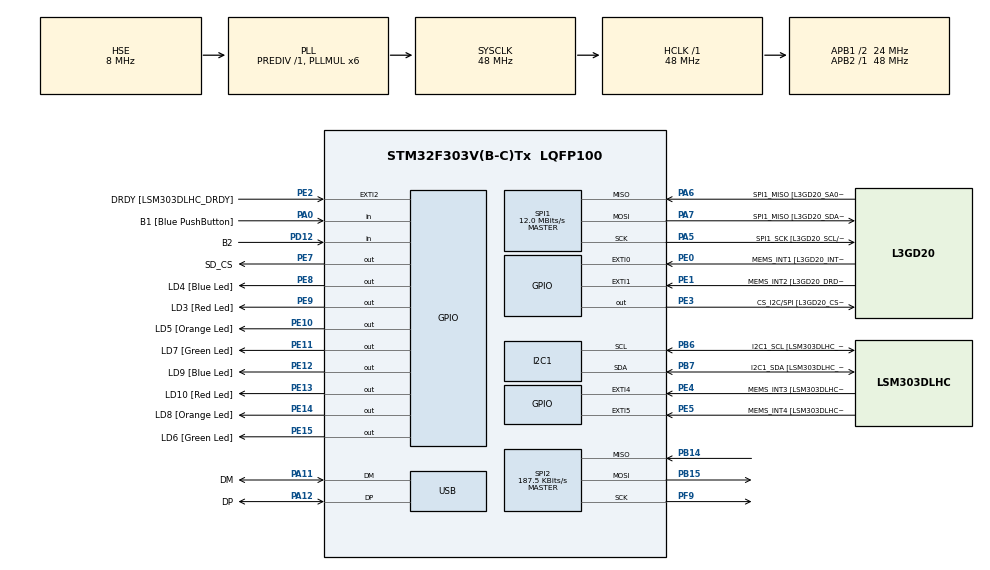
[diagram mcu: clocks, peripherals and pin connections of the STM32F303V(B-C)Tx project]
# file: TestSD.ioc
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FATFS._CODE_PAGE=1251
FATFS._FS_LOCK=1
FATFS._FS_NORTC=1
FATFS._NORTC_MDAY=1
FATFS._NORTC_MON=1
FATFS._NORTC_YEAR=2020
FATFS._USE_FASTSEEK=0
FATFS._USE_MKFS=0
FREERTOS.CountingSemaphores01=syscallCountingSem,1,Dynamic,NULL
FREERTOS.Tasks01=defaultTask,24,128,StartDefaultTask,Default,NULL,Dynamic,NULL,NULL;spiTask,8,450,SpiTask,Default,NULL,Dynamic,NULL,NULL;buttonTask,8,180,ButtonTask,Default,NULL,Dynamic,NULL,NULL;sdFatfsTask,8,420,SdFatfsTask,Default,NULL,Dynamic,NULL,NULL;logTask,24,1000,LogTask,Default,NULL,Dynamic,NULL,NULL
FREERTOS.configTOTAL_HEAP_SIZE=9600
I2C1.Timing=0x2000090E
I2C1.Timing-I2C=0x2000090E
Mcu.Family=STM32F3
Mcu.Name=STM32F303V(B-C)Tx
Mcu.Package=LQFP100
NVIC.PriorityGroup=NVIC_PRIORITYGROUP_4
NVIC.TIM1_UP_TIM16_IRQn=true\:0\:0\:false\:false\:true\:false\:false\:true
NVIC.TimeBase=TIM1_UP_TIM16_IRQn
NVIC.TimeBaseIP=TIM1
PA0.GPIO_Label=B1 [Blue PushButton]
PA0.Signal=GPIO_Input
PA11.GPIO_Label=DM
PA11.Mode=Device
PA11.Signal=USB_DM
PA12.GPIO_Label=DP
PA12.Mode=Device
PA12.Signal=USB_DP
PA13.GPIO_Label=SWDIO
PA13.Mode=Serial_Wire
PA13.Signal=SYS_JTMS-SWDIO
PA14.GPIO_Label=SWCLK
PA14.Mode=Serial_Wire
PA14.Signal=SYS_JTCK-SWCLK
PA5.GPIO_Label=SPI1_SCK [L3GD20_SCL/SPC]
PA5.Mode=Full_Duplex_Master
PA5.Signal=SPI1_SCK
PA6.GPIO_Label=SPI1_MISO [L3GD20_SA0/SDO]
PA6.Mode=Full_Duplex_Master
PA6.Signal=SPI1_MISO
PA7.GPIO_Label=SPI1_MISO [L3GD20_SDA/SDI/SDO]
PA7.Mode=Full_Duplex_Master
PA7.Signal=SPI1_MOSI
PB14.Mode=Full_Duplex_Master
PB14.Signal=SPI2_MISO
PB15.Mode=Full_Duplex_Master
PB15.Signal=SPI2_MOSI
PB3.GPIO_Label=SWO
PB3.Signal=SYS_JTDO-TRACESWO
PB6.GPIO_Label=I2C1_SCL [LSM303DLHC_SCL]
PB6.Mode=I2C
PB6.Signal=I2C1_SCL
PB7.GPIO_Label=I2C1_SDA [LSM303DLHC_SDA]
PB7.Mode=I2C
PB7.Signal=I2C1_SDA
PC14-OSC32_IN.GPIO_Label=OSC32_IN
PC14-OSC32_IN.Signal=RCC_OSC32_IN
PC15-OSC32_OUT.GPIO_Label=OSC32_OUT
PC15-OSC32_OUT.Signal=RCC_OSC32_OUT
PD12.GPIO_Label=B2
PD12.GPIO_PuPd=GPIO_PULLDOWN
PD12.Signal=GPIO_Input
PE0.GPIO_Label=MEMS_INT1 [L3GD20_INT1]
PE0.GPIO_ModeDefaultEXTI=GPIO_MODE_EVT_RISING
PE0.Signal=GPXTI0
PE1.GPIO_Label=MEMS_INT2 [L3GD20_DRDY/INT2]
PE1.GPIO_ModeDefaultEXTI=GPIO_MODE_EVT_RISING
PE1.Signal=GPXTI1
PE10.GPIO_Label=LD5 [Orange Led]
PE10.Signal=GPIO_Output
PE11.GPIO_Label=LD7 [Green Led]
PE11.Signal=GPIO_Output
PE12.GPIO_Label=LD9 [Blue Led]
PE12.Signal=GPIO_Output
PE13.GPIO_Label=LD10 [Red Led]
PE13.Signal=GPIO_Output
PE14.GPIO_Label=LD8 [Orange Led]
PE14.Signal=GPIO_Output
PE15.GPIO_Label=LD6 [Green Led]
PE15.Signal=GPIO_Output
PE2.GPIO_Label=DRDY [LSM303DLHC_DRDY]
PE2.GPIO_ModeDefaultEXTI=GPIO_MODE_EVT_RISING
PE2.Signal=GPXTI2
PE3.GPIO_Label=CS_I2C/SPI [L3GD20_CS_I2C/SPI]
PE3.Signal=GPIO_Output
PE4.GPIO_Label=MEMS_INT3 [LSM303DLHC_INT1]
PE4.GPIO_ModeDefaultEXTI=GPIO_MODE_EVT_RISING
PE4.Signal=GPXTI4
PE5.GPIO_Label=MEMS_INT4 [LSM303DLHC_INT2]
PE5.GPIO_ModeDefaultEXTI=GPIO_MODE_EVT_RISING
PE5.Signal=GPXTI5
PE7.GPIO_Label=SD_CS
PE7.GPIO_ModeDefaultOutputPP=GPIO_MODE_OUTPUT_PP
PE7.PinState=GPIO_PIN_SET
PE7.Signal=GPIO_Output
PE8.GPIO_Label=LD4 [Blue Led]
PE8.Signal=GPIO_Output
PE9.GPIO_Label=LD3 [Red Led]
PE9.Signal=GPIO_Output
PF0-OSC_IN.GPIO_Label=OSC_IN
PF0-OSC_IN.Mode=HSE-External-Clock-Source
PF0-OSC_IN.Signal=RCC_OSC_IN
PF1-OSC_OUT.GPIO_Label=OSC_OUT
PF1-OSC_OUT.Signal=RCC_OSC_OUT
PF9.Mode=Full_Duplex_Master
PF9.Signal=SPI2_SCK
ProjectManager.HeapSize=0x0
ProjectManager.StackSize=0x400
ProjectManager.TargetToolchain=STM32CubeIDE
RCC.AHBFreq_Value=48000000
RCC.APB1CLKDivider=RCC_HCLK_DIV2
RCC.APB1Freq_Value=24000000
RCC.APB1TimFreq_Value=48000000
RCC.APB2Freq_Value=48000000
RCC.APB2TimFreq_Value=48000000
RCC.CortexFreq_Value=48000000
RCC.HCLKFreq_Value=48000000
RCC.HSE_VALUE=8000000
RCC.HSI_VALUE=8000000
RCC.LSE_VALUE=32768
RCC.PLLMUL=RCC_PLL_MUL6
RCC.SYSCLKFreq_VALUE=48000000
RCC.SYSCLKSourceVirtual=RCC_SYSCLKSOURCE_PLLCLK
RCC.USBFreq_Value=48000000
SPI1.BaudRatePrescaler=SPI_BAUDRATEPRESCALER_4
SPI1.BaudRatePrescaler-Full_Duplex_Master=SPI_BAUDRATEPRESCALER_2
SPI1.CalculateBaudRate=12.0 MBits/s
SPI1.CalculateBaudRate-Full_Duplex_Master=24.0 MBits/s
SPI1.Direction=SPI_DIRECTION_2LINES
SPI1.Mode=SPI_MODE_MASTER
SPI1.Mode-Full_Duplex_Master=SPI_MODE_MASTER
SPI1.VirtualType=VM_MASTER
SPI2.BaudRatePrescaler=SPI_BAUDRATEPRESCALER_128
SPI2.CalculateBaudRate=187.5 KBits/s
SPI2.DataSize=SPI_DATASIZE_8BIT
SPI2.Direction=SPI_DIRECTION_2LINES
SPI2.Mode=SPI_MODE_MASTER
SPI2.VirtualType=VM_MASTER
VP_FATFS_VS_Generic.Mode=User_defined
VP_FREERTOS_VS_CMSIS_V2.Mode=CMSIS_V2
VP_SYS_VS_tim1.Mode=TIM1
board=STM32F3DISCOVERY

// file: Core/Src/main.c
/* USER CODE BEGIN Header */
/**
  ******************************************************************************
  * @file           : main.c
  * @brief          : Main program body
  ******************************************************************************
  * @attention
  *
  * <h2><center>&copy; Copyright (c) 2020 STMicroelectronics.
  * All rights reserved.</center></h2>
  *
  * This software component is licensed by ST under BSD 3-Clause license,
  * the "License"; You may not use this file except in compliance with the
  * License. You may obtain a copy of the License at:
  *                        opensource.org/licenses/BSD-3-Clause
  *
  ******************************************************************************
  */
#define I_AM_IN_MAIN_C

/* USER CODE END Header */

#include "main.h"
#include "cmsis_os.h"
#include "fatfs.h"

/* USER CODE BEGIN Includes */
#include <stdlib.h>
#include <string.h>
#include <errno.h>

#include "SdCardJobs.h"
#include "MainEventFlags.h"
#include "log_tasked.h"

/* USER CODE END Includes */

/* USER CODE BEGIN PD */
#define BUTTON_AMOUNT 2
/* event flags for spi_event_flags */
//#define EF_SPI_SEND_TEST_CMD 0x1 /* SPI: send test command */

/* USER CODE END PD */

I2C_HandleTypeDef hi2c1;

SPI_HandleTypeDef hspi1;
SPI_HandleTypeDef hspi2;

PCD_HandleTypeDef hpcd_USB_FS;

/* Definitions for defaultTask */
osThreadId_t defaultTaskHandle;
const osThreadAttr_t defaultTask_attributes = {
  .name = "defaultTask",
  .priority = (osPriority_t) osPriorityNormal,
  .stack_size = 128 * 4
};
/* Definitions for spiTask */
osThreadId_t spiTaskHandle;
const osThreadAttr_t spiTask_attributes = {
  .name = "spiTask",
  .priority = (osPriority_t) osPriorityLow,
  .stack_size = 450 * 4
};
/* Definitions for buttonTask */
osThreadId_t buttonTaskHandle;
const osThreadAttr_t buttonTask_attributes = {
  .name = "buttonTask",
  .priority = (osPriority_t) osPriorityLow,
  .stack_size = 180 * 4
};
/* Definitions for sdFatfsTask */
osThreadId_t sdFatfsTaskHandle;
const osThreadAttr_t sdFatfsTask_attributes = {
  .name = "sdFatfsTask",
  .priority = (osPriority_t) osPriorityLow,
  .stack_size = 420 * 4
};
/* Definitions for logTask */
osThreadId_t logTaskHandle;
const osThreadAttr_t logTask_attributes = {
  .name = "logTask",
  .priority = (osPriority_t) osPriorityNormal,
  .stack_size = 1000 * 4
};
/* Definitions for syscallCountingSem */
osSemaphoreId_t syscallCountingSemHandle;
const osSemaphoreAttr_t syscallCountingSem_attributes = {
  .name = "syscallCountingSem"
};
/* USER CODE BEGIN PV */

//osEventFlagsId_t spi_event_flags = NULL;
static BOOL sd_card_init_needed = TRUE;

/* USER CODE END PV */

void SystemClock_Config(void);
static void MX_GPIO_Init(void);
static void MX_I2C1_Init(void);
static void MX_SPI1_Init(void);
static void MX_SPI2_Init(void);
static void MX_USB_PCD_Init(void);
void StartDefaultTask(void *argument);
void SpiTask(void *argument);
void ButtonTask(void *argument);
void SdFatfsTask(void *argument);
void LogTask(void *argument);

/* USER CODE BEGIN PFP */
BOOL MakeSdCardJob(void);

void Button1_Pressed(void);
void Button2_Pressed(void);

/* USER CODE END PFP */

/* USER CODE BEGIN 0 */

/*
 * защита от применения где-то malloc & free
 */
extern void nonexistentfunction( void );

void *malloc( size_t size )
{
    ( void ) size;
    nonexistentfunction();
    return NULL;
}

void free( void *pvMemory )
{
    ( void ) pvMemory;
    nonexistentfunction();
}

/*
 * additional 64bit tick counter function
 *
 * https://www.keil.com/pack/doc/cmsis/RTOS2/html/group__CMSIS__RTOS__KernelCtrl.html#ga84bcdbf2fb76b10c8df4e439f0c7e11b
 *
 * Due to the limited value range u
 * sed for the tick count it may overflow during runtime,
 * i.e. after 232 ticks which are roughly 49days @ 1ms.
 * Typically one has not to take special care of this
 * unless a monotonic counter is needed. For such a case
 * an additional 64bit tick counter can be implemented as follows.
 * The given example needs GetTick() called
 * at least twice per tick overflow to work properly.
 */
uint64_t GetTick(void)
{
  static uint32_t tick_h = 0U;
  static uint32_t tick_l = 0U;
         uint32_t tick;
  tick = osKernelGetTickCount();
  if (tick < tick_l) {
    tick_h++;
  }
  tick_l = tick;
  return (((uint64_t)tick_h << 32) | tick_l);
}

BOOL MakeSdCardJob(void)
{
	return SdFat_okMount();
}

void Button1_Pressed(void)
{
	static Log_TMessage mes;

	mes.id = osKernelGetTickCount();
	strncpy(mes.mes,"qwerty",sizeof(mes.mes));
	if(Log_okPut(&mes))
		HAL_GPIO_WritePin(LD5_GPIO_Port,LD5_Pin,GPIO_PIN_SET);
	else
		HAL_GPIO_WritePin(LD6_GPIO_Port,LD6_Pin,GPIO_PIN_SET);
//				ev_flag_set_ret_value=
//				osEventFlagsSet(jobs_event_flags,JF_WRITE_LOG);
}
void Button2_Pressed(void)
{

}

//{
//	DSTATUS dstat = RES_OK;
//
////    FATFS *fs;     /* Pointer to the filesystem object */
//	FATFS ofs;
//    FRESULT fres;
//
//    FIL fil;        /* File object */
//    char line[20]; /* Line buffer */
//    FRESULT fr;     /* FatFs return code */
//
//	dstat = disk_initialize(0);
//	if(dstat != RES_OK)
//		return FALSE;
//
////    fs = malloc(sizeof (FATFS));/* Get work area for the volume */
////    if(fs==NULL)
////    {
////    	int e = errno;
////    	return FALSE;
////    }
//
//    fres=f_mount(&ofs, "", 1);/* Mount the default drive */
//    if(fres!=FR_OK)
//    	return FALSE;
//
//    /* Open a text file */
//    fr = f_open(&fil, "folder.ini", FA_READ);
//    if (fr)
//    	return FALSE;
////    return (int)fr;
//
//    /* Read every line and display it */
//    f_gets(line, sizeof line, &fil);
//
//    /* Close the file */
//    f_close(&fil);
//
//    fres=f_mount(0, "", 0);/* Unmount the default drive */
//     if(fres!=FR_OK)
//    	return FALSE;
//
////   free(fs);/* Here the work area can be discarded */
//
//   return TRUE;
//}

/* USER CODE END 0 */

int main(void)
{

  /* MCU Configuration--------------------------------------------------------*/

  /* Reset of all peripherals, Initializes the Flash interface and the Systick. */
  HAL_Init();

  /* Configure the system clock */
  SystemClock_Config();

  /* Initialize all configured peripherals */
  MX_GPIO_Init();
  MX_I2C1_Init();
  MX_SPI1_Init();
  MX_SPI2_Init();
  MX_USB_PCD_Init();
  MX_FATFS_Init();

  /* Init scheduler */
  osKernelInitialize();

  /* Create the semaphores(s) */
  /* creation of syscallCountingSem */
  syscallCountingSemHandle = osSemaphoreNew(1, 1, &syscallCountingSem_attributes);

  /* Create the thread(s) */
  /* creation of defaultTask */
  defaultTaskHandle = osThreadNew(StartDefaultTask, NULL, &defaultTask_attributes);

  /* creation of spiTask */
  spiTaskHandle = osThreadNew(SpiTask, NULL, &spiTask_attributes);

  /* creation of buttonTask */
  buttonTaskHandle = osThreadNew(ButtonTask, NULL, &buttonTask_attributes);

  /* creation of sdFatfsTask */
  sdFatfsTaskHandle = osThreadNew(SdFatfsTask, NULL, &sdFatfsTask_attributes);

  /* creation of logTask */
  logTaskHandle = osThreadNew(LogTask, NULL, &logTask_attributes);

  /* USER CODE BEGIN RTOS_THREADS */
  /* add threads, ... */

//  spi_event_flags = osEventFlagsNew(NULL);
  main_event_flags = osEventFlagsNew(NULL);
//  jobs_event_flags = osEventFlagsNew(NULL);

  /* USER CODE END RTOS_THREADS */

  /* Start scheduler */
  osKernelStart();

  /* We should never get here as control is now taken by the scheduler */
  /* Infinite loop */
  while (1)
  {

  }
}

void SystemClock_Config(void)
{
  RCC_OscInitTypeDef RCC_OscInitStruct = {0};
  RCC_ClkInitTypeDef RCC_ClkInitStruct = {0};
  RCC_PeriphCLKInitTypeDef PeriphClkInit = {0};

  /** Initializes the CPU, AHB and APB busses clocks
  */
  RCC_OscInitStruct.OscillatorType = RCC_OSCILLATORTYPE_HSI|RCC_OSCILLATORTYPE_HSE;
  RCC_OscInitStruct.HSEState = RCC_HSE_BYPASS;
  RCC_OscInitStruct.HSEPredivValue = RCC_HSE_PREDIV_DIV1;
  RCC_OscInitStruct.HSIState = RCC_HSI_ON;
  RCC_OscInitStruct.HSICalibrationValue = RCC_HSICALIBRATION_DEFAULT;
  RCC_OscInitStruct.PLL.PLLState = RCC_PLL_ON;
  RCC_OscInitStruct.PLL.PLLSource = RCC_PLLSOURCE_HSE;
  RCC_OscInitStruct.PLL.PLLMUL = RCC_PLL_MUL6;
  if (HAL_RCC_OscConfig(&RCC_OscInitStruct) != HAL_OK)
  {
    Error_Handler();
  }
  /** Initializes the CPU, AHB and APB busses clocks
  */
  RCC_ClkInitStruct.ClockType = RCC_CLOCKTYPE_HCLK|RCC_CLOCKTYPE_SYSCLK
                              |RCC_CLOCKTYPE_PCLK1|RCC_CLOCKTYPE_PCLK2;
  RCC_ClkInitStruct.SYSCLKSource = RCC_SYSCLKSOURCE_PLLCLK;
  RCC_ClkInitStruct.AHBCLKDivider = RCC_SYSCLK_DIV1;
  RCC_ClkInitStruct.APB1CLKDivider = RCC_HCLK_DIV2;
  RCC_ClkInitStruct.APB2CLKDivider = RCC_HCLK_DIV1;

  if (HAL_RCC_ClockConfig(&RCC_ClkInitStruct, FLASH_LATENCY_1) != HAL_OK)
  {
    Error_Handler();
  }
  PeriphClkInit.PeriphClockSelection = RCC_PERIPHCLK_USB|RCC_PERIPHCLK_I2C1;
  PeriphClkInit.I2c1ClockSelection = RCC_I2C1CLKSOURCE_HSI;
  PeriphClkInit.USBClockSelection = RCC_USBCLKSOURCE_PLL;
  if (HAL_RCCEx_PeriphCLKConfig(&PeriphClkInit) != HAL_OK)
  {
    Error_Handler();
  }
}

static void MX_I2C1_Init(void)
{

  hi2c1.Instance = I2C1;
  hi2c1.Init.Timing = 0x2000090E;
  hi2c1.Init.OwnAddress1 = 0;
  hi2c1.Init.AddressingMode = I2C_ADDRESSINGMODE_7BIT;
  hi2c1.Init.DualAddressMode = I2C_DUALADDRESS_DISABLE;
  hi2c1.Init.OwnAddress2 = 0;
  hi2c1.Init.OwnAddress2Masks = I2C_OA2_NOMASK;
  hi2c1.Init.GeneralCallMode = I2C_GENERALCALL_DISABLE;
  hi2c1.Init.NoStretchMode = I2C_NOSTRETCH_DISABLE;
  if (HAL_I2C_Init(&hi2c1) != HAL_OK)
  {
    Error_Handler();
  }
  /** Configure Analogue filter
  */
  if (HAL_I2CEx_ConfigAnalogFilter(&hi2c1, I2C_ANALOGFILTER_ENABLE) != HAL_OK)
  {
    Error_Handler();
  }
  /** Configure Digital filter
  */
  if (HAL_I2CEx_ConfigDigitalFilter(&hi2c1, 0) != HAL_OK)
  {
    Error_Handler();
  }

}

static void MX_SPI1_Init(void)
{

  /* SPI1 parameter configuration*/
  hspi1.Instance = SPI1;
  hspi1.Init.Mode = SPI_MODE_MASTER;
  hspi1.Init.Direction = SPI_DIRECTION_2LINES;
  hspi1.Init.DataSize = SPI_DATASIZE_4BIT;
  hspi1.Init.CLKPolarity = SPI_POLARITY_LOW;
  hspi1.Init.CLKPhase = SPI_PHASE_1EDGE;
  hspi1.Init.NSS = SPI_NSS_SOFT;
  hspi1.Init.BaudRatePrescaler = SPI_BAUDRATEPRESCALER_4;
  hspi1.Init.FirstBit = SPI_FIRSTBIT_MSB;
  hspi1.Init.TIMode = SPI_TIMODE_DISABLE;
  hspi1.Init.CRCCalculation = SPI_CRCCALCULATION_DISABLE;
  hspi1.Init.CRCPolynomial = 7;
  hspi1.Init.CRCLength = SPI_CRC_LENGTH_DATASIZE;
  hspi1.Init.NSSPMode = SPI_NSS_PULSE_ENABLE;
  if (HAL_SPI_Init(&hspi1) != HAL_OK)
  {
    Error_Handler();
  }

}

static void MX_SPI2_Init(void)
{

  /* SPI2 parameter configuration*/
  hspi2.Instance = SPI2;
  hspi2.Init.Mode = SPI_MODE_MASTER;
  hspi2.Init.Direction = SPI_DIRECTION_2LINES;
  hspi2.Init.DataSize = SPI_DATASIZE_8BIT;
  hspi2.Init.CLKPolarity = SPI_POLARITY_LOW;
  hspi2.Init.CLKPhase = SPI_PHASE_1EDGE;
  hspi2.Init.NSS = SPI_NSS_SOFT;
  hspi2.Init.BaudRatePrescaler = SPI_BAUDRATEPRESCALER_128;
  hspi2.Init.FirstBit = SPI_FIRSTBIT_MSB;
  hspi2.Init.TIMode = SPI_TIMODE_DISABLE;
  hspi2.Init.CRCCalculation = SPI_CRCCALCULATION_DISABLE;
  hspi2.Init.CRCPolynomial = 7;
  hspi2.Init.CRCLength = SPI_CRC_LENGTH_DATASIZE;
  hspi2.Init.NSSPMode = SPI_NSS_PULSE_ENABLE;
  if (HAL_SPI_Init(&hspi2) != HAL_OK)
  {
    Error_Handler();
  }

}

static void MX_USB_PCD_Init(void)
{

  hpcd_USB_FS.Instance = USB;
  hpcd_USB_FS.Init.dev_endpoints = 8;
  hpcd_USB_FS.Init.speed = PCD_SPEED_FULL;
  hpcd_USB_FS.Init.phy_itface = PCD_PHY_EMBEDDED;
  hpcd_USB_FS.Init.low_power_enable = DISABLE;
  hpcd_USB_FS.Init.battery_charging_enable = DISABLE;
  if (HAL_PCD_Init(&hpcd_USB_FS) != HAL_OK)
  {
    Error_Handler();
  }

}

static void MX_GPIO_Init(void)
{
  GPIO_InitTypeDef GPIO_InitStruct = {0};

  /* GPIO Ports Clock Enable */
  __HAL_RCC_GPIOE_CLK_ENABLE();
  __HAL_RCC_GPIOC_CLK_ENABLE();
  __HAL_RCC_GPIOF_CLK_ENABLE();
  __HAL_RCC_GPIOA_CLK_ENABLE();
  __HAL_RCC_GPIOB_CLK_ENABLE();
  __HAL_RCC_GPIOD_CLK_ENABLE();

  /*Configure GPIO pin Output Level */
  HAL_GPIO_WritePin(GPIOE, CS_I2C_SPI_Pin|LD4_Pin|LD3_Pin|LD5_Pin
                          |LD7_Pin|LD9_Pin|LD10_Pin|LD8_Pin
                          |LD6_Pin, GPIO_PIN_RESET);

  /*Configure GPIO pin Output Level */
  HAL_GPIO_WritePin(SD_CS_GPIO_Port, SD_CS_Pin, GPIO_PIN_SET);

  /*Configure GPIO pins : DRDY_Pin MEMS_INT3_Pin MEMS_INT4_Pin MEMS_INT1_Pin
                           MEMS_INT2_Pin */
  GPIO_InitStruct.Pin = DRDY_Pin|MEMS_INT3_Pin|MEMS_INT4_Pin|MEMS_INT1_Pin
                          |MEMS_INT2_Pin;
  GPIO_InitStruct.Mode = GPIO_MODE_EVT_RISING;
  GPIO_InitStruct.Pull = GPIO_NOPULL;
  HAL_GPIO_Init(GPIOE, &GPIO_InitStruct);

  /*Configure GPIO pins : CS_I2C_SPI_Pin SD_CS_Pin LD4_Pin LD3_Pin
                           LD5_Pin LD7_Pin LD9_Pin LD10_Pin
                           LD8_Pin LD6_Pin */
  GPIO_InitStruct.Pin = CS_I2C_SPI_Pin|SD_CS_Pin|LD4_Pin|LD3_Pin
                          |LD5_Pin|LD7_Pin|LD9_Pin|LD10_Pin
                          |LD8_Pin|LD6_Pin;
  GPIO_InitStruct.Mode = GPIO_MODE_OUTPUT_PP;
  GPIO_InitStruct.Pull = GPIO_NOPULL;
  GPIO_InitStruct.Speed = GPIO_SPEED_FREQ_LOW;
  HAL_GPIO_Init(GPIOE, &GPIO_InitStruct);

  /*Configure GPIO pin : B1_Pin */
  GPIO_InitStruct.Pin = B1_Pin;
  GPIO_InitStruct.Mode = GPIO_MODE_INPUT;
  GPIO_InitStruct.Pull = GPIO_NOPULL;
  HAL_GPIO_Init(B1_GPIO_Port, &GPIO_InitStruct);

  /*Configure GPIO pin : B2_Pin */
  GPIO_InitStruct.Pin = B2_Pin;
  GPIO_InitStruct.Mode = GPIO_MODE_INPUT;
  GPIO_InitStruct.Pull = GPIO_PULLDOWN;
  HAL_GPIO_Init(B2_GPIO_Port, &GPIO_InitStruct);

}

void StartDefaultTask(void *argument)
{
  /* USER CODE BEGIN 5 */
  /* Infinite loop */
  for(;;)
  {
	  if(/*jobs_event_flags==NULL ||*/ main_event_flags==NULL || sd_card_init_needed)
		  osDelay(100);
	  else
		  osDelay(500);

	  HAL_GPIO_TogglePin(LD4_GPIO_Port,LD4_Pin);
  }
  /* USER CODE END 5 */
}

void SpiTask(void *argument)
{
  /* USER CODE BEGIN SpiTask */

	/* Infinite loop */
	for(;;)
	{
//		if(osEventFlagsWait(
//				spi_event_flags,
//				EF_SPI_SEND_TEST_CMD,
//				osFlagsWaitAny,
//				0) == EF_SPI_SEND_TEST_CMD)
//		{	// SPI send test command received
//			HAL_GPIO_TogglePin(LD5_GPIO_Port,LD5_Pin);/* indicate start command */

//			HAL_GPIO_WritePin(
//					LD7_GPIO_Port,
//					LD7_Pin,
//					MakeSdCardJob() ? GPIO_PIN_SET : GPIO_PIN_RESET);
//					HAL_GPIO_WritePin(LD10_GPIO_Port,LD10_Pin,GPIO_PIN_SET);
//		}
		osDelay(1);
	}
  /* USER CODE END SpiTask */
}

void ButtonTask(void *argument)
{
  /* USER CODE BEGIN ButtonTask */
	typedef struct
	{
		GPIO_TypeDef * port;
		uint16_t pin;
		GPIO_TypeDef * led_port;
		uint16_t led_pin;
		char prev_state_is_pressed;
		char state_is_now_pressed;
		GPIO_PinState current_state;
		void (*ButtonPressedFunc)(void);
	} TButtonData;

	static TButtonData button[BUTTON_AMOUNT] =
	{
			{ B1_GPIO_Port, B1_Pin, LD3_GPIO_Port, LD3_Pin, 0, 0, GPIO_PIN_RESET, Button1_Pressed },
			{ B2_GPIO_Port, B2_Pin, LD10_GPIO_Port, LD10_Pin, 0, 0, GPIO_PIN_RESET, Button2_Pressed }
	};
//	static char button_prev_state_is_pressed=0;
//	char button_state_is_now_pressed;
//	GPIO_PinState button_current_state;

	/* Infinite loop */
	for(;;)
	{
		osDelay(100); // некая защита от дребезга кнопки
		for(int i=0; i < BUTTON_AMOUNT; ++i)
		{
			button[i].current_state = HAL_GPIO_ReadPin( button[i].port, button[i].pin );
			HAL_GPIO_WritePin( button[i].led_port, button[i].led_pin, button[i].current_state );
			button[i].state_is_now_pressed = (button[i].current_state == GPIO_PIN_SET);
			if(button[i].prev_state_is_pressed != button[i].state_is_now_pressed)
			{	// button state changed
				if(button[i].current_state == GPIO_PIN_SET)
				{	// button just pressed
					button[i].prev_state_is_pressed=1;
				}
				else
				{	// button just released
					button[i].prev_state_is_pressed=0;
					button[i].ButtonPressedFunc();
				}
			}
		}
//		button_current_state=HAL_GPIO_ReadPin(B1_GPIO_Port,B1_Pin);
//		HAL_GPIO_WritePin(LD3_GPIO_Port,LD3_Pin,button_current_state);
//		button_state_is_now_pressed = (button_current_state == GPIO_PIN_SET);

//		if(button_prev_state_is_pressed != button_state_is_now_pressed)
//		{	// button state changed
//			if(button_current_state == GPIO_PIN_SET)
//			{	// button just pressed
//				button_prev_state_is_pressed=1;
////				HAL_GPIO_WritePin(LD7_GPIO_Port,LD7_Pin,GPIO_PIN_RESET);
////				HAL_GPIO_WritePin(LD8_GPIO_Port,LD8_Pin,GPIO_PIN_RESET);
////				HAL_GPIO_WritePin(LD9_GPIO_Port,LD9_Pin,GPIO_PIN_RESET);
////				HAL_GPIO_WritePin(LD10_GPIO_Port,LD10_Pin,GPIO_PIN_RESET);
//			}
//			else
//			{	// button just released
//				button_prev_state_is_pressed=0;
//				mes.id = osKernelGetTickCount();
//				strncpy(mes.mes,"qwerty",sizeof(mes.mes));
//				if(Log_okPut(&mes))
//					HAL_GPIO_WritePin(LD5_GPIO_Port,LD5_Pin,GPIO_PIN_SET);
//				else
//					HAL_GPIO_WritePin(LD6_GPIO_Port,LD6_Pin,GPIO_PIN_SET);
////				ev_flag_set_ret_value=
////				osEventFlagsSet(jobs_event_flags,JF_WRITE_LOG);
//			}
//		}
	}
  /* USER CODE END ButtonTask */
}

void SdFatfsTask(void *argument)
{
  /* USER CODE BEGIN SdFatfsTask */
  /* Infinite loop */
  for(;;)
  {
	  if(sd_card_init_needed)
	  {
		  if(SdFat_okMount())
			  sd_card_init_needed=FALSE;
	  }

	  HAL_GPIO_WritePin(
			  LD7_GPIO_Port,
			  LD7_Pin,
			  SdFat_isReady() ? GPIO_PIN_SET : GPIO_PIN_RESET);

	  osDelay(1);
  }
  /* USER CODE END SdFatfsTask */
}

void LogTask(void *argument)
{
  /* USER CODE BEGIN LogTask */
 	static Log_TMessage Message;
 	static uint32_t log_not_ready_counter=0;
 	static uint32_t no_or_errGetFromQueue_counter=0;
 	static uint32_t errWriteToLogFile_counter=0;

 /* Infinite loop */
  for(;;)
  {
    osDelay(1);
    if(Log_isReady())
    {
    	HAL_GPIO_WritePin(LD9_GPIO_Port,LD9_Pin,GPIO_PIN_SET);

    	if(Log_okGetFromQueue(&Message))
    	{
    		if(Log_okWriteToLogFile(&Message))
    		{
				HAL_GPIO_WritePin(LD5_GPIO_Port,LD5_Pin,GPIO_PIN_RESET);
				Log_FileClose();
    		}
    		else
    			++errWriteToLogFile_counter;
    	}
    	else
    		++no_or_errGetFromQueue_counter;
    }
    else
    {
    	if( ! Log_okInit() )
    	{
    		HAL_GPIO_WritePin(LD9_GPIO_Port,LD9_Pin,GPIO_PIN_RESET);
    		++log_not_ready_counter;
    	}
    }
  }
  /* USER CODE END LogTask */
}

 /**
  * @brief  Period elapsed callback in non blocking mode
  * @note   This function is called  when TIM1 interrupt took place, inside
  * HAL_TIM_IRQHandler(). It makes a direct call to HAL_IncTick() to increment
  * a global variable "uwTick" used as application time base.
  * @param  htim : TIM handle
  * @retval None
  */
void HAL_TIM_PeriodElapsedCallback(TIM_HandleTypeDef *htim)
{
  if (htim->Instance == TIM1) {
    HAL_IncTick();
  }
}

void Error_Handler(void)
{
  /* USER CODE BEGIN Error_Handler_Debug */
  /* User can add his own implementation to report the HAL error return state */

	for(;;)
		;

  /* USER CODE END Error_Handler_Debug */
}

/************************ (C) COPYRIGHT STMicroelectronics *****END OF FILE****/
